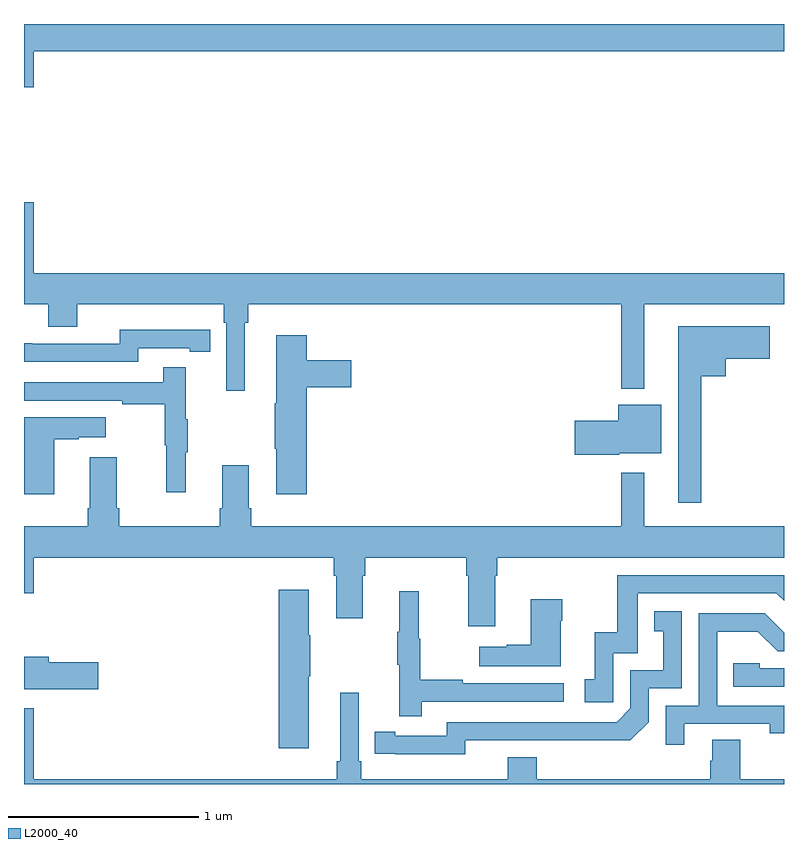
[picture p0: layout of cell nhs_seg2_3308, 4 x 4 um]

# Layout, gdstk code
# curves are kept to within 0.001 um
import gdstk
lib = gdstk.Library(unit=1e-6, precision=1e-09)
def P(c, l, *ps):  # polygons
    for p in ps: c.add(gdstk.Polygon(p, *l))
L2000_40 = (2000, 40)

nhs_seg2_3308 = lib.new_cell('nhs_seg2_3308')
P(nhs_seg2_3308, L2000_40, [(285.052,627.656),(289,627.656),(289,627.8),(285,627.8),(285,627.468),(285.052,627.468)],
  [(286.162,626.228),(286.181,626.228),(286.181,626.324),(288.144,626.324),(288.144,625.88),(288.265,625.88),(288.265,626.324),(289,626.324),(289,626.488),(285.052,626.488),(285.052,626.863),(285,626.863),(285,626.324),(285.128,626.324),(285.128,626.207),(285.28,626.207),(285.28,626.324),(286.052,626.324),(286.052,626.228),(286.065,626.228),(286.065,625.869),(286.162,625.869)],
  [(288.565,625.946),(288.694,625.946),(288.694,626.039),(288.925,626.039),(288.925,626.209),(288.443,626.209),(288.443,625.281),(288.565,625.281)],
  [(285.6,626.094),(285.872,626.094),(285.872,626.074),(285.98,626.074),(285.98,626.19),(285.872,626.19),(285.872,626.191),(285.504,626.191),(285.504,626.118),(285.044,626.118),(285.044,626.12),(285,626.12),(285,626.022),(285.6,626.022)],
  [(286.487,625.889),(286.723,625.889),(286.723,626.031),(286.487,626.031),(286.487,626.161),(286.328,626.161),(286.328,625.805),(286.321,625.805),(286.321,625.564),(286.328,625.564),(286.328,625.326),(286.487,625.326)],
  [(285.851,625.547),(285.862,625.547),(285.862,625.721),(285.851,625.721),(285.851,625.993),(285.733,625.993),(285.733,625.914),(285,625.914),(285,625.818),(285.517,625.818),(285.517,625.798),(285.741,625.798),(285.741,625.584),(285.748,625.584),(285.748,625.335),(285.851,625.335)],
  [(288.132,625.541),(288.355,625.541),(288.355,625.795),(288.128,625.795),(288.128,625.712),(287.898,625.712),(287.898,625.534),(288.132,625.534)],
  [(285.16,625.615),(285.287,625.615),(285.287,625.625),(285.43,625.625),(285.43,625.729),(285.002,625.729),(285.002,625.438),(285,625.438),(285,625.326),(285.16,625.326)],
  [(287.479,624.896),(287.492,624.896),(287.492,624.992),(289,624.992),(289,625.156),(288.265,625.156),(288.265,625.438),(288.144,625.438),(288.144,625.156),(286.196,625.156),(286.196,625.252),(286.183,625.252),(286.183,625.477),(286.043,625.477),(286.043,625.252),(286.031,625.252),(286.031,625.156),(285.5,625.156),(285.5,625.252),(285.487,625.252),(285.487,625.519),(285.347,625.519),(285.347,625.252),(285.335,625.252),(285.335,625.156),(285,625.156),(285,624.804),(285.052,624.804),(285.052,624.992),(286.631,624.992),(286.631,624.896),(286.643,624.896),(286.643,624.672),(286.783,624.672),(286.783,624.896),(286.796,624.896),(286.796,624.992),(287.327,624.992),(287.327,624.896),(287.339,624.896),(287.339,624.63),(287.479,624.63)],
  [(288.102,624.489),(288.231,624.489),(288.231,624.804),(288.96,624.804),(289,624.764),(289,624.9),(288.123,624.9),(288.123,624.598),(288.005,624.598),(288.005,624.351),(287.952,624.351),(287.952,624.231),(288.102,624.231)],
  [(286.498,624.367),(286.506,624.367),(286.506,624.584),(286.498,624.584),(286.498,624.823),(286.34,624.823),(286.34,623.988),(286.498,623.988)],
  [(287.093,624.234),(287.842,624.234),(287.842,624.33),(287.309,624.33),(287.309,624.35),(287.086,624.35),(287.086,624.564),(287.078,624.564),(287.078,624.814),(286.976,624.814),(286.976,624.601),(286.965,624.601),(286.965,624.427),(286.976,624.427),(286.976,624.156),(287.093,624.156)],
  [(287.824,624.659),(287.832,624.659),(287.832,624.772),(287.666,624.772),(287.666,624.533),(287.54,624.533),(287.54,624.523),(287.397,624.523),(287.397,624.419),(287.824,624.419)],
  [(287.322,624.03),(288.19,624.029),(288.288,624.126),(288.288,624.303),(288.462,624.303),(288.462,624.709),(288.316,624.709),(288.316,624.603),(288.365,624.603),(288.365,624.399),(288.192,624.399),(288.192,624.198),(288.12,624.126),(287.226,624.126),(287.226,624.054),(286.954,624.054),(286.954,624.074),(286.846,624.074),(286.846,623.958),(287.322,623.957)],
  [(288.475,624.117),(288.926,624.117),(288.926,624.066),(289,624.066),(289,624.213),(288.648,624.213),(288.648,624.602),(288.862,624.602),(288.966,624.498),(289,624.498),(289,624.597),(288.898,624.699),(288.552,624.699),(288.552,624.213),(288.378,624.213),(288.378,624.006),(288.475,624.006)],
  [(285.391,624.44),(285.13,624.44),(285.13,624.469),(285,624.469),(285,624.359),(285.002,624.359),(285.002,624.298),(285.391,624.298)],
  [(289,624.408),(288.873,624.408),(288.873,624.435),(288.733,624.435),(288.733,624.312),(289,624.312)],
  [(289,623.824),(288.771,623.824),(288.771,624.032),(288.623,624.032),(288.623,623.922),(288.611,623.922),(288.611,623.824),(287.699,623.824),(287.699,623.941),(287.546,623.941),(287.546,623.824),(286.775,623.824),(286.775,623.92),(286.761,623.92),(286.761,624.28),(286.664,624.28),(286.664,623.92),(286.645,623.92),(286.645,623.824),(285.052,623.824),(285.052,624.199),(285,624.199),(285,623.8),(289,623.8)])

lib.write_gds('nhs_seg2_3308.gds')
